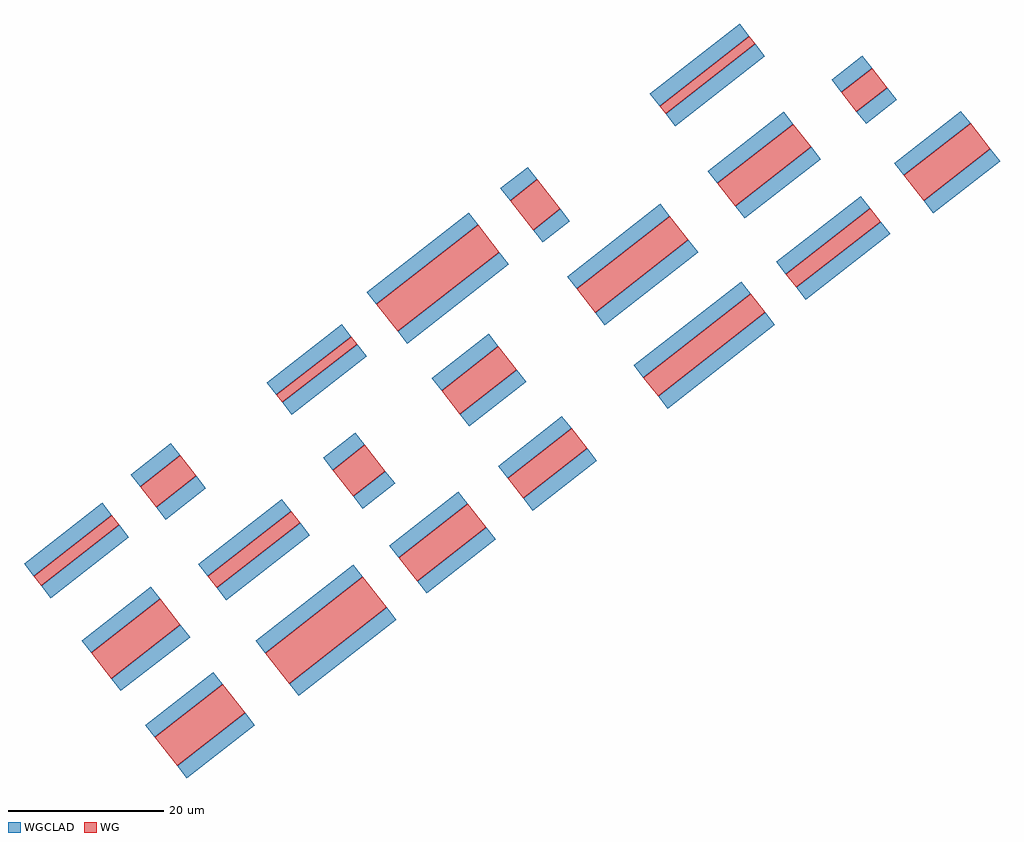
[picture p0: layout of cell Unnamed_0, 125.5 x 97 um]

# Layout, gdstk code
from math import pi, radians
import gdstk
lib = gdstk.Library(unit=1e-6, precision=1e-09)
def R(c, l, rs):  # rectangles x0, y0, x1, y1
    for r in rs: c.add(gdstk.rectangle(r[:2], r[2:], *l))
WG = (1, 0)
WGCLAD = (111, 0)

straight_cssym_f7fe636c_ = lib.new_cell('straight_CSsym_f7fe636c_1258_L14653')
R(straight_cssym_f7fe636c_, WG, [(0,-0.629,14.653,0.629)])
R(straight_cssym_f7fe636c_, WGCLAD, [(0,-2.629,14.653,-0.629), (0,0.629,14.653,2.629)])

c_straight_cssym_f7fe636c_ = lib.new_cell('straight_CSsym_f7fe636c_1222_L12206')
R(c_straight_cssym_f7fe636c_, WG, [(0,-0.611,12.206,0.611)])
R(c_straight_cssym_f7fe636c_, WGCLAD, [(0,-2.611,12.206,-0.611), (0,0.611,12.206,2.611)])

c_straight_cssym_f7fe636c__ = lib.new_cell('straight_CSsym_f7fe636c_1596_L12753')
R(c_straight_cssym_f7fe636c__, WG, [(0,-0.798,12.753,0.798)])
R(c_straight_cssym_f7fe636c__, WGCLAD, [(0,-2.798,12.753,-0.798), (0,0.798,12.753,2.798)])

c_straight_cssym_f7fe636c___ = lib.new_cell('straight_CSsym_f7fe636c_3338_L6561')
R(c_straight_cssym_f7fe636c___, WG, [(0,-1.669,6.561,1.669)])
R(c_straight_cssym_f7fe636c___, WGCLAD, [(0,-3.669,6.561,-1.669), (0,1.669,6.561,3.669)])

c_straight_cssym_f7fe636c____ = lib.new_cell('straight_CSsym_f7fe636c_3172_L5024')
R(c_straight_cssym_f7fe636c____, WG, [(0,-1.586,5.024,1.586)])
R(c_straight_cssym_f7fe636c____, WGCLAD, [(0,-3.586,5.024,-1.586), (0,1.586,5.024,3.586)])

c_straight_cssym_f7fe636c_____ = lib.new_cell('straight_CSsym_f7fe636c_4642_L11098')
R(c_straight_cssym_f7fe636c_____, WG, [(0,-2.321,11.098,2.321)])
R(c_straight_cssym_f7fe636c_____, WGCLAD, [(0,-4.321,11.098,-2.321), (0,2.321,11.098,4.321)])

c_straight_cssym_f7fe636c______ = lib.new_cell('straight_CSsym_f7fe636c_3888_L15211')
R(c_straight_cssym_f7fe636c______, WG, [(0,-1.944,15.211,1.944)])
R(c_straight_cssym_f7fe636c______, WGCLAD, [(0,-3.944,15.211,-1.944), (0,1.944,15.211,3.944)])

c_straight_cssym_f7fe636c_______ = lib.new_cell('straight_CSsym_f7fe636c_4972_L15922')
R(c_straight_cssym_f7fe636c_______, WG, [(0,-2.486,15.922,2.486)])
R(c_straight_cssym_f7fe636c_______, WGCLAD, [(0,-4.486,15.922,-2.486), (0,2.486,15.922,4.486)])

c_straight_cssym_f7fe636c________ = lib.new_cell('straight_CSsym_f7fe636c_3726_L12378')
R(c_straight_cssym_f7fe636c________, WG, [(0,-1.863,12.378,1.863)])
R(c_straight_cssym_f7fe636c________, WGCLAD, [(0,-3.863,12.378,-1.863), (0,1.863,12.378,3.863)])

c_straight_cssym_f7fe636c_________ = lib.new_cell('straight_CSsym_f7fe636c_3808_L11255')
R(c_straight_cssym_f7fe636c_________, WG, [(0,-1.904,11.255,1.904)])
R(c_straight_cssym_f7fe636c_________, WGCLAD, [(0,-3.904,11.255,-1.904), (0,1.904,11.255,3.904)])

c_straight_cssym_f7fe636c__________ = lib.new_cell('straight_CSsym_f7fe636c_3258_L10424')
R(c_straight_cssym_f7fe636c__________, WG, [(0,-1.629,10.424,1.629)])
R(c_straight_cssym_f7fe636c__________, WGCLAD, [(0,-3.629,10.424,-1.629), (0,1.629,10.424,3.629)])

c_straight_cssym_f7fe636c___________ = lib.new_cell('straight_CSsym_f7fe636c_3036_L17510')
R(c_straight_cssym_f7fe636c___________, WG, [(0,-1.518,17.51,1.518)])
R(c_straight_cssym_f7fe636c___________, WGCLAD, [(0,-3.518,17.51,-1.518), (0,1.518,17.51,3.518)])

c_straight_cssym_f7fe636c____________ = lib.new_cell('straight_CSsym_f7fe636c_2182_L13750')
R(c_straight_cssym_f7fe636c____________, WG, [(0,-1.091,13.75,1.091)])
R(c_straight_cssym_f7fe636c____________, WGCLAD, [(0,-3.091,13.75,-1.091), (0,1.091,13.75,3.091)])

c_straight_cssym_f7fe636c_____________ = lib.new_cell('straight_CSsym_f7fe636c_4156_L10870')
R(c_straight_cssym_f7fe636c_____________, WG, [(0,-2.078,10.87,2.078)])
R(c_straight_cssym_f7fe636c_____________, WGCLAD, [(0,-4.078,10.87,-2.078), (0,2.078,10.87,4.078)])

c_straight_cssym_f7fe636c______________ = lib.new_cell('straight_CSsym_f7fe636c_4430_L16588')
R(c_straight_cssym_f7fe636c______________, WG, [(0,-2.215,16.588,2.215)])
R(c_straight_cssym_f7fe636c______________, WGCLAD, [(0,-4.215,16.588,-2.215), (0,2.215,16.588,4.215)])

c_straight_cssym_f7fe636c_______________ = lib.new_cell('straight_CSsym_f7fe636c_4234_L11276')
R(c_straight_cssym_f7fe636c_______________, WG, [(0,-2.117,11.276,2.117)])
R(c_straight_cssym_f7fe636c_______________, WGCLAD, [(0,-4.117,11.276,-2.117), (0,2.117,11.276,4.117)])

c_straight_cssym_f7fe636c________________ = lib.new_cell('straight_CSsym_f7fe636c_4808_L4458')
R(c_straight_cssym_f7fe636c________________, WG, [(0,-2.404,4.458,2.404)])
R(c_straight_cssym_f7fe636c________________, WGCLAD, [(0,-4.404,4.458,-2.404), (0,2.404,4.458,4.404)])

c_straight_cssym_f7fe636c_________________ = lib.new_cell('straight_CSsym_f7fe636c_1866_L13600')
R(c_straight_cssym_f7fe636c_________________, WG, [(0,-0.933,13.6,0.933)])
R(c_straight_cssym_f7fe636c_________________, WGCLAD, [(0,-2.933,13.6,-0.933), (0,0.933,13.6,2.933)])

c_straight_cssym_f7fe636c__________________ = lib.new_cell('straight_CSsym_f7fe636c_4288_L5265')
R(c_straight_cssym_f7fe636c__________________, WG, [(0,-2.144,5.265,2.144)])
R(c_straight_cssym_f7fe636c__________________, WGCLAD, [(0,-4.144,5.265,-2.144), (0,2.144,5.265,4.144)])

c_straight_cssym_f7fe636c___________________ = lib.new_cell('straight_CSsym_f7fe636c_3830_L9288')
R(c_straight_cssym_f7fe636c___________________, WG, [(0,-1.915,9.288,1.915)])
R(c_straight_cssym_f7fe636c___________________, WGCLAD, [(0,-3.915,9.288,-1.915), (0,1.915,9.288,3.915)])

unnamed_0 = lib.new_cell('Unnamed_0')
unnamed_0.add(gdstk.Reference(straight_cssym_f7fe636c_, (58.116,90.112), rotation=radians(38)))
unnamed_0.add(gdstk.Reference(c_straight_cssym_f7fe636c_, (8.831,52.999), rotation=radians(38)))
unnamed_0.add(gdstk.Reference(c_straight_cssym_f7fe636c__, (-22.272,29.556), rotation=radians(38)))
unnamed_0.add(gdstk.Reference(c_straight_cssym_f7fe636c___, (-8.026,40.357), rotation=radians(38)))
unnamed_0.add(gdstk.Reference(c_straight_cssym_f7fe636c____, (82.072,91.168), rotation=radians(38)))
unnamed_0.add(gdstk.Reference(c_straight_cssym_f7fe636c_____, (-5.733,7.609), rotation=radians(38)))
unnamed_0.add(gdstk.Reference(c_straight_cssym_f7fe636c______, (48.26,65.578), rotation=radians(38)))
unnamed_0.add(gdstk.Reference(c_straight_cssym_f7fe636c_______, (8.57,18.334), rotation=radians(38)))
unnamed_0.add(gdstk.Reference(c_straight_cssym_f7fe636c________, (66.323,79.22), rotation=radians(38)))
unnamed_0.add(gdstk.Reference(c_straight_cssym_f7fe636c_________, (25.373,31.046), rotation=radians(38)))
unnamed_0.add(gdstk.Reference(c_straight_cssym_f7fe636c__________, (39.204,41.479), rotation=radians(38)))
unnamed_0.add(gdstk.Reference(c_straight_cssym_f7fe636c___________, (56.6,54.51), rotation=radians(38)))
unnamed_0.add(gdstk.Reference(c_straight_cssym_f7fe636c____________, (74.658,68.16), rotation=radians(38)))
unnamed_0.add(gdstk.Reference(c_straight_cssym_f7fe636c_____________, (90.431,80.076), rotation=radians(38)))
unnamed_0.add(gdstk.Reference(c_straight_cssym_f7fe636c______________, (22.689,63.394), rotation=radians(38)))
unnamed_0.add(gdstk.Reference(c_straight_cssym_f7fe636c_______________, (-14.061,18.659), rotation=radians(38)))
unnamed_0.add(gdstk.Reference(c_straight_cssym_f7fe636c________________, (39.985,76.56), rotation=radians(38)))
unnamed_0.add(gdstk.Reference(c_straight_cssym_f7fe636c_________________, (0.229,29.403), rotation=radians(38)))
unnamed_0.add(gdstk.Reference(c_straight_cssym_f7fe636c__________________, (17.013,42.14), rotation=radians(38)))
unnamed_0.add(gdstk.Reference(c_straight_cssym_f7fe636c___________________, (30.87,52.538), rotation=radians(38)))

lib.write_gds('Unnamed_0.gds')
